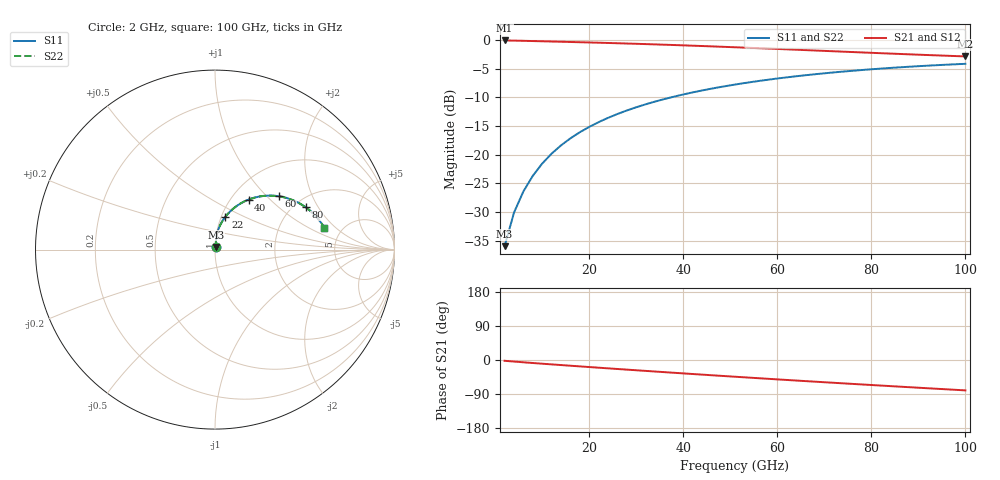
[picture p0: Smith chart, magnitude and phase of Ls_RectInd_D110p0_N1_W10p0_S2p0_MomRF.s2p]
! Created Thu Oct  1 20:10:03 2026
! List of port names and net name(s): example Port n = <port_name> <net_name1> <net_name2> ...
! Port 1 = P1 P1
! Port 2 = P2 P1
# hz S ma R 50
! Port[1]
! Port[2]
! 2 Port Network Data from data block
! freq  magS11  angS11  magS21  angS21  magS12  angS12  magS22  angS22
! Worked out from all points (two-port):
!   50 points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, 2 GHz to 100 GHz, reference 50 ohm
!   highest |S21| = -0.05 dB at 2 GHz (marker M1); lowest = -2.8 dB at 100 GHz (marker M2)
!   |S21| within 3 dB of the highest: start of sweep to end of sweep
!   lowest |S11| = -35.9 dB at 2 GHz (marker M3), VSWR 1.03, Z = 50.5 + j1.54 ohm
!   |S11| at or under -10 dB: start of sweep to 37.32 GHz
!   |S22| runs from -35.9 to -4.1 dB; largest |S21 - S12| = 0
!   S11 on the Smith chart (normalised r, x): 2 GHz: 1.01, +0.03; 22 GHz: 1.05, +0.40; 40 GHz: 1.20, +0.76; 60 GHz: 1.56, +1.18; 80 GHz: 2.29, +1.57; 100 GHz: 3.68, +1.45
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2e9  0.01595 72.7  0.994 -2.1  0.994 -2.1  0.01595 72.7
4e9  0.03131 81.2  0.9909 -4.1  0.9909 -4.1  0.03131 81.2
6e9  0.04796 83.7  0.9868 -6.1  0.9868 -6.1  0.04796 83.7
8e9  0.06561 83.9  0.9823 -7.9  0.9823 -7.9  0.06562 83.9
1e10  0.08386 83.1  0.9777 -9.8  0.9777 -9.8  0.08386 83.1
1.2e10  0.1024 81.7  0.9731 -11.6  0.9731 -11.6  0.1024 81.7
1.4e10  0.1208 80.0  0.9686 -13.3  0.9686 -13.3  0.1209 80.0
1.6e10  0.1392 78.1  0.964 -15.1  0.964 -15.1  0.1392 78.1
2e10  0.1752 74.3  0.9547 -18.6  0.9547 -18.6  0.1752 74.3
2.2e10  0.1928 72.4  0.9499 -20.3  0.9499 -20.3  0.1928 72.4
2.8e10  0.2435 66.7  0.9347 -25.4  0.9347 -25.4  0.2435 66.7
3.2e10  0.2756 63.1  0.924 -28.7  0.924 -28.7  0.2756 63.1
3.6e10  0.3065 59.5  0.9127 -32.1  0.9127 -32.1  0.3065 59.5
4e10  0.3359 56.1  0.901 -35.3  0.901 -35.3  0.3359 56.1
4.6e10  0.3775 51.1  0.8827 -40.2  0.8827 -40.2  0.3776 51.1
5.2e10  0.4161 46.2  0.8638 -44.9  0.8638 -44.9  0.4161 46.2
6e10  0.4628 39.9  0.8381 -51.1  0.8381 -51.1  0.4628 39.9
6.8e10  0.5043 33.9  0.8125 -57.2  0.8125 -57.2  0.5043 33.9
8e10  0.557 25.1  0.7755 -66.0  0.7755 -66.0  0.557 25.1
8.4e10  0.5721 22.3  0.7638 -68.9  0.7638 -68.9  0.5722 22.3
9.2e10  0.5991 16.7  0.7416 -74.6  0.7416 -74.6  0.5991 16.7
1e11  0.6216 11.2  0.7215 -80.2  0.7215 -80.2  0.6217 11.2
